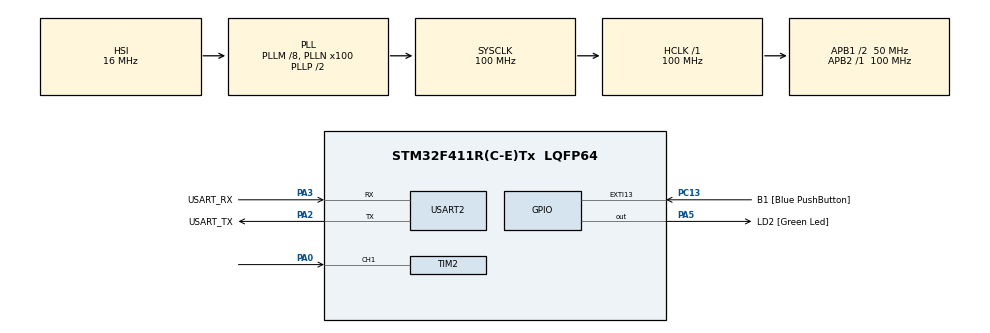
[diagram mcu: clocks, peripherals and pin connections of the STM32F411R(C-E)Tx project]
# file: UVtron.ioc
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Mcu.Family=STM32F4
Mcu.Name=STM32F411R(C-E)Tx
Mcu.Package=LQFP64
NVIC.PriorityGroup=NVIC_PRIORITYGROUP_0
NVIC.TIM2_IRQn=true\:0\:0\:false\:false\:true\:true\:true\:true
PA0-WKUP.GPIO_PuPd=GPIO_PULLUP
PA0-WKUP.Signal=S_TIM2_CH1_ETR
PA13.GPIO_Label=TMS
PA13.Mode=Serial_Wire
PA13.Signal=SYS_JTMS-SWDIO
PA14.GPIO_Label=TCK
PA14.Mode=Serial_Wire
PA14.Signal=SYS_JTCK-SWCLK
PA2.GPIO_Label=USART_TX
PA2.Mode=Asynchronous
PA2.Signal=USART2_TX
PA3.GPIO_Label=USART_RX
PA3.Mode=Asynchronous
PA3.Signal=USART2_RX
PA5.GPIO_Label=LD2 [Green Led]
PA5.Signal=GPIO_Output
PC13-ANTI_TAMP.GPIO_Label=B1 [Blue PushButton]
PC13-ANTI_TAMP.GPIO_ModeDefaultEXTI=GPIO_MODE_IT_FALLING
PC13-ANTI_TAMP.Signal=GPXTI13
ProjectManager.HeapSize=0x200
ProjectManager.StackSize=0x400
ProjectManager.TargetToolchain=STM32CubeIDE
RCC.48MHZClocksFreq_Value=50000000
RCC.AHBFreq_Value=100000000
RCC.APB1CLKDivider=RCC_HCLK_DIV2
RCC.APB1Freq_Value=50000000
RCC.APB1TimFreq_Value=100000000
RCC.APB2Freq_Value=100000000
RCC.APB2TimFreq_Value=100000000
RCC.CortexFreq_Value=100000000
RCC.FLatency-AdvancedSettings=FLASH_LATENCY_3
RCC.HCLKFreq_Value=100000000
RCC.HSE_VALUE=8000000
RCC.HSI_VALUE=16000000
RCC.LSE_VALUE=32768
RCC.PLLM=8
RCC.PLLN=100
RCC.SYSCLKFreq_VALUE=100000000
RCC.SYSCLKSource=RCC_SYSCLKSOURCE_PLLCLK
RCC.VCOOutputFreq_Value=200000000
SH.S_TIM2_CH1_ETR.0=TIM2_CH1,Input_Capture1_from_TI1
TIM2.Channel-Input_Capture1_from_TI1=TIM_CHANNEL_1
TIM2.Prescaler=100-1
USART2.VirtualMode=VM_ASYNC
VP_TIM2_VS_ClockSourceINT.Mode=Internal
board=NUCLEO-F411RE

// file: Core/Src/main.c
/* USER CODE BEGIN Header */
/**
  ******************************************************************************
  * @file           : main.c
  * @brief          : Main program body
  ******************************************************************************
  * @attention
  *
  * Copyright (c) 2022 STMicroelectronics.
  * All rights reserved.
  *
  * This software is licensed under terms that can be found in the LICENSE file
  * in the root directory of this software component.
  * If no LICENSE file comes with this software, it is provided AS-IS.
  *
  ******************************************************************************
  */
/* USER CODE END Header */
#include "main.h"

 TIM_HandleTypeDef htim2;

UART_HandleTypeDef huart2;

void SystemClock_Config(void);
static void MX_GPIO_Init(void);
static void MX_USART2_UART_Init(void);
static void MX_TIM2_Init(void);

/* USER CODE BEGIN 0 */
#define TIMCLOCK   100000000
#define PRESCALAR  100000
uint32_t IC_Val1 = 0;
uint32_t IC_Val2 = 0;
uint32_t Difference = 0;
int Is_First_Captured = 0;

/* Measure Frequency */

float UVtron_frequency = 0;
void HAL_TIM_IC_CaptureCallback(TIM_HandleTypeDef *htim)
{
	if (htim->Channel == HAL_TIM_ACTIVE_CHANNEL_1)
	{
		if (Is_First_Captured==0) // if the first rising edge is not captured
		{
			IC_Val1 = HAL_TIM_ReadCapturedValue(htim, TIM_CHANNEL_1); // read the first value
			Is_First_Captured = 1;  // set the first captured as true
		}

		else   // If the first rising edge is captured, now we will capture the second edge
		{
			IC_Val2 = HAL_TIM_ReadCapturedValue(htim, TIM_CHANNEL_1);  // read second value

			if (IC_Val2 > IC_Val1)
			{
				Difference = IC_Val2-IC_Val1;
			}

			else if (IC_Val1 > IC_Val2)
			{
				Difference = (0xffffffff - IC_Val1) + IC_Val2;
			}

			float refClock = TIMCLOCK/(PRESCALAR);

			UVtron_frequency = refClock/Difference;

			__HAL_TIM_SET_COUNTER(htim, 0);  // reset the counter
			Is_First_Captured = 0; // set it back to false
		}
	}
}

/* USER CODE END 0 */

int main(void)
{

  /* MCU Configuration--------------------------------------------------------*/

  /* Reset of all peripherals, Initializes the Flash interface and the Systick. */
  HAL_Init();

  /* Configure the system clock */
  SystemClock_Config();

  /* Initialize all configured peripherals */
  MX_GPIO_Init();
  MX_USART2_UART_Init();
  MX_TIM2_Init();
  /* USER CODE BEGIN 2 */
  HAL_TIM_IC_Start(&htim2, TIM_CHANNEL_1);

  /* USER CODE END 2 */

  /* Infinite loop */
  while (1)
  {

  }
}

void SystemClock_Config(void)
{
  RCC_OscInitTypeDef RCC_OscInitStruct = {0};
  RCC_ClkInitTypeDef RCC_ClkInitStruct = {0};

  /** Configure the main internal regulator output voltage
  */
  __HAL_RCC_PWR_CLK_ENABLE();
  __HAL_PWR_VOLTAGESCALING_CONFIG(PWR_REGULATOR_VOLTAGE_SCALE1);

  /** Initializes the RCC Oscillators according to the specified parameters
  * in the RCC_OscInitTypeDef structure.
  */
  RCC_OscInitStruct.OscillatorType = RCC_OSCILLATORTYPE_HSI;
  RCC_OscInitStruct.HSIState = RCC_HSI_ON;
  RCC_OscInitStruct.HSICalibrationValue = RCC_HSICALIBRATION_DEFAULT;
  RCC_OscInitStruct.PLL.PLLState = RCC_PLL_ON;
  RCC_OscInitStruct.PLL.PLLSource = RCC_PLLSOURCE_HSI;
  RCC_OscInitStruct.PLL.PLLM = 8;
  RCC_OscInitStruct.PLL.PLLN = 100;
  RCC_OscInitStruct.PLL.PLLP = RCC_PLLP_DIV2;
  RCC_OscInitStruct.PLL.PLLQ = 4;
  if (HAL_RCC_OscConfig(&RCC_OscInitStruct) != HAL_OK)
  {
    Error_Handler();
  }

  /** Initializes the CPU, AHB and APB buses clocks
  */
  RCC_ClkInitStruct.ClockType = RCC_CLOCKTYPE_HCLK|RCC_CLOCKTYPE_SYSCLK
                              |RCC_CLOCKTYPE_PCLK1|RCC_CLOCKTYPE_PCLK2;
  RCC_ClkInitStruct.SYSCLKSource = RCC_SYSCLKSOURCE_PLLCLK;
  RCC_ClkInitStruct.AHBCLKDivider = RCC_SYSCLK_DIV1;
  RCC_ClkInitStruct.APB1CLKDivider = RCC_HCLK_DIV2;
  RCC_ClkInitStruct.APB2CLKDivider = RCC_HCLK_DIV1;

  if (HAL_RCC_ClockConfig(&RCC_ClkInitStruct, FLASH_LATENCY_3) != HAL_OK)
  {
    Error_Handler();
  }
}

static void MX_TIM2_Init(void)
{

  TIM_ClockConfigTypeDef sClockSourceConfig = {0};
  TIM_MasterConfigTypeDef sMasterConfig = {0};
  TIM_IC_InitTypeDef sConfigIC = {0};

  htim2.Instance = TIM2;
  htim2.Init.Prescaler = 100-1;
  htim2.Init.CounterMode = TIM_COUNTERMODE_UP;
  htim2.Init.Period = 4294967295;
  htim2.Init.ClockDivision = TIM_CLOCKDIVISION_DIV1;
  htim2.Init.AutoReloadPreload = TIM_AUTORELOAD_PRELOAD_DISABLE;
  if (HAL_TIM_Base_Init(&htim2) != HAL_OK)
  {
    Error_Handler();
  }
  sClockSourceConfig.ClockSource = TIM_CLOCKSOURCE_INTERNAL;
  if (HAL_TIM_ConfigClockSource(&htim2, &sClockSourceConfig) != HAL_OK)
  {
    Error_Handler();
  }
  if (HAL_TIM_IC_Init(&htim2) != HAL_OK)
  {
    Error_Handler();
  }
  sMasterConfig.MasterOutputTrigger = TIM_TRGO_RESET;
  sMasterConfig.MasterSlaveMode = TIM_MASTERSLAVEMODE_DISABLE;
  if (HAL_TIMEx_MasterConfigSynchronization(&htim2, &sMasterConfig) != HAL_OK)
  {
    Error_Handler();
  }
  sConfigIC.ICPolarity = TIM_INPUTCHANNELPOLARITY_RISING;
  sConfigIC.ICSelection = TIM_ICSELECTION_DIRECTTI;
  sConfigIC.ICPrescaler = TIM_ICPSC_DIV1;
  sConfigIC.ICFilter = 0;
  if (HAL_TIM_IC_ConfigChannel(&htim2, &sConfigIC, TIM_CHANNEL_1) != HAL_OK)
  {
    Error_Handler();
  }

}

static void MX_USART2_UART_Init(void)
{

  huart2.Instance = USART2;
  huart2.Init.BaudRate = 115200;
  huart2.Init.WordLength = UART_WORDLENGTH_8B;
  huart2.Init.StopBits = UART_STOPBITS_1;
  huart2.Init.Parity = UART_PARITY_NONE;
  huart2.Init.Mode = UART_MODE_TX_RX;
  huart2.Init.HwFlowCtl = UART_HWCONTROL_NONE;
  huart2.Init.OverSampling = UART_OVERSAMPLING_16;
  if (HAL_UART_Init(&huart2) != HAL_OK)
  {
    Error_Handler();
  }

}

static void MX_GPIO_Init(void)
{
  GPIO_InitTypeDef GPIO_InitStruct = {0};

  /* GPIO Ports Clock Enable */
  __HAL_RCC_GPIOC_CLK_ENABLE();
  __HAL_RCC_GPIOA_CLK_ENABLE();

  /*Configure GPIO pin Output Level */
  HAL_GPIO_WritePin(LD2_GPIO_Port, LD2_Pin, GPIO_PIN_RESET);

  /*Configure GPIO pin : B1_Pin */
  GPIO_InitStruct.Pin = B1_Pin;
  GPIO_InitStruct.Mode = GPIO_MODE_IT_FALLING;
  GPIO_InitStruct.Pull = GPIO_NOPULL;
  HAL_GPIO_Init(B1_GPIO_Port, &GPIO_InitStruct);

  /*Configure GPIO pin : LD2_Pin */
  GPIO_InitStruct.Pin = LD2_Pin;
  GPIO_InitStruct.Mode = GPIO_MODE_OUTPUT_PP;
  GPIO_InitStruct.Pull = GPIO_NOPULL;
  GPIO_InitStruct.Speed = GPIO_SPEED_FREQ_LOW;
  HAL_GPIO_Init(LD2_GPIO_Port, &GPIO_InitStruct);

}

void Error_Handler(void)
{
  __disable_irq();
  while (1)
  {
  }
}
